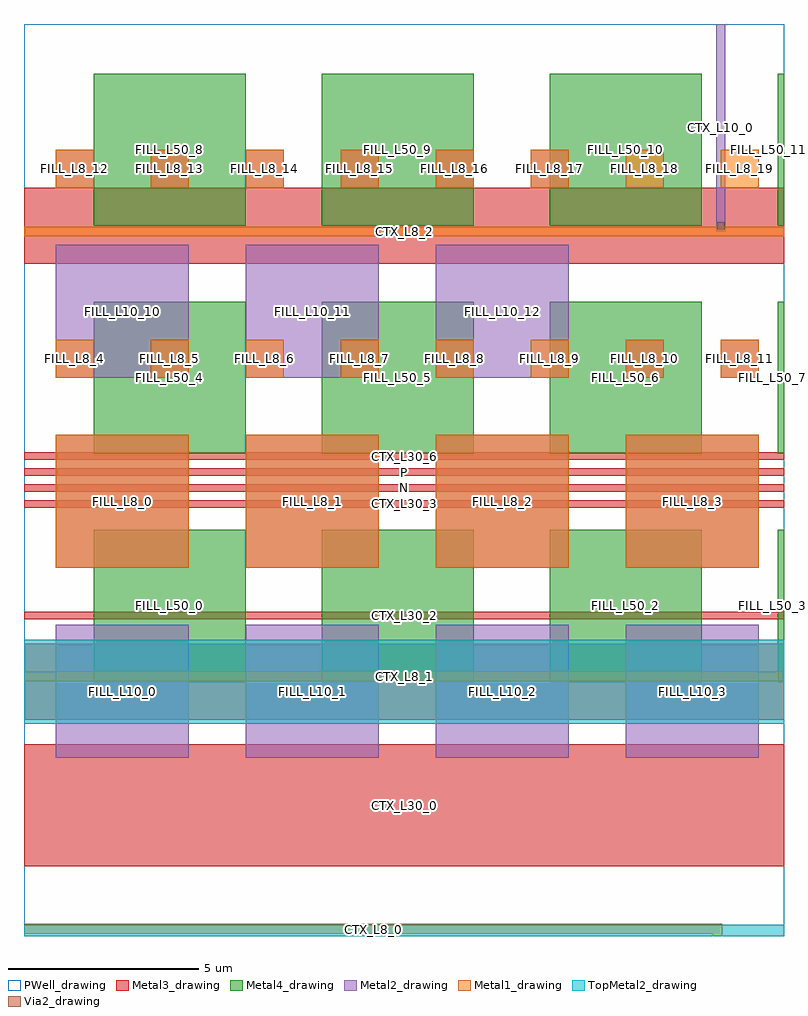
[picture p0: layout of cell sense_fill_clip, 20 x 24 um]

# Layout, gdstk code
import gdstk
lib = gdstk.Library(unit=1e-6, precision=1e-09)
def R(c, l, rs):  # rectangles x0, y0, x1, y1
    for r in rs: c.add(gdstk.rectangle(r[:2], r[2:], *l))
def A(c, l, x, y, w, h, nx, ny, dx, dy):  # array of equal rectangles
    R(c, l, [(x+i*dx, y+j*dy, x+i*dx+w, y+j*dy+h) for i in range(nx) for j in range(ny)])
def P(c, l, *ps):  # polygons
    for p in ps: c.add(gdstk.Polygon(p, *l))
Metal1_drawing = (8, 0)
Metal2_drawing = (10, 0)
Via2_drawing = (29, 0)
Metal3_drawing = (30, 0)
PWell_drawing = (46, 0)
Metal4_drawing = (50, 0)
TopMetal2_drawing = (134, 0)

sense_fill_clip = lib.new_cell('sense_fill_clip')
A(sense_fill_clip, Metal1_drawing, 845, 945, 3.5, 3.5, 4, 1, 5, 0)
A(sense_fill_clip, Metal1_drawing, 845, 950, 1, 1, 8, 2, 2.5, 5)
R(sense_fill_clip, Metal1_drawing, [(844.16,942.02,864.16,942.28), (844.16,953.72,864.16,953.98)])
P(sense_fill_clip, Metal1_drawing, [(862.28,935.31),(862.28,935.37),(844.16,935.37),(844.16,935.63),(862.54,935.63),(862.54,935.31)])
A(sense_fill_clip, Metal2_drawing, 845, 940, 3.5, 3.5, 4, 2, 5, 5)
A(sense_fill_clip, Metal2_drawing, 845, 950, 3.5, 3.5, 3, 1, 5, 0)
A(sense_fill_clip, Metal2_drawing, 845, 955, 1, 1, 6, 1, 2.5, 0)
R(sense_fill_clip, Metal2_drawing, [(860,950,861,951), (862.5,950,863.5,951), (862.38,953.85,862.62,959.31)])
R(sense_fill_clip, Via2_drawing, [(862.405,953.905,862.595,954.095)])
A(sense_fill_clip, Metal3_drawing, 844.16, 946.58, 20, 0.2, 1, 4, 0, 0.42)
R(sense_fill_clip, Metal3_drawing, [(844.16,937.15,864.16,940.35), (844.16,941,864.16,943), (844.16,943.64,864.16,943.84), (844.16,953,864.16,955)])
R(sense_fill_clip, PWell_drawing, [(844.16,935.31,864.16,959.31), (844.16,935.31,864.16,959.31)])
A(sense_fill_clip, Metal4_drawing, 846, 942, 4, 4, 3, 3, 6, 6)
A(sense_fill_clip, Metal4_drawing, 864, 942, 0.16, 4, 1, 3, 0, 6)
R(sense_fill_clip, TopMetal2_drawing, [(844.16,935.31,864.16,935.6), (844.16,940.9,864.16,943.1)])
sense_fill_clip.add(gdstk.Label('FILL_L8_18', (860.5,955.5), layer=8, texttype=25))
sense_fill_clip.add(gdstk.Label('FILL_L8_15', (853,955.5), layer=8, texttype=25))
sense_fill_clip.add(gdstk.Label('FILL_L8_17', (858,955.5), layer=8, texttype=25))
sense_fill_clip.add(gdstk.Label('FILL_L8_16', (855.5,955.5), layer=8, texttype=25))
sense_fill_clip.add(gdstk.Label('FILL_L8_11', (863,950.5), layer=8, texttype=25))
sense_fill_clip.add(gdstk.Label('FILL_L8_0', (846.75,946.75), layer=8, texttype=25))
sense_fill_clip.add(gdstk.Label('FILL_L8_14', (850.5,955.5), layer=8, texttype=25))
sense_fill_clip.add(gdstk.Label('FILL_L8_10', (860.5,950.5), layer=8, texttype=25))
sense_fill_clip.add(gdstk.Label('CTX_L8_0', (853.35,935.47), layer=8, texttype=25))
sense_fill_clip.add(gdstk.Label('CTX_L8_1', (854.16,942.15), layer=8, texttype=25))
sense_fill_clip.add(gdstk.Label('FILL_L8_13', (848,955.5), layer=8, texttype=25))
sense_fill_clip.add(gdstk.Label('FILL_L8_12', (845.5,955.5), layer=8, texttype=25))
sense_fill_clip.add(gdstk.Label('FILL_L8_1', (851.75,946.75), layer=8, texttype=25))
sense_fill_clip.add(gdstk.Label('FILL_L8_5', (848,950.5), layer=8, texttype=25))
sense_fill_clip.add(gdstk.Label('FILL_L8_3', (861.75,946.75), layer=8, texttype=25))
sense_fill_clip.add(gdstk.Label('FILL_L8_4', (845.5,950.5), layer=8, texttype=25))
sense_fill_clip.add(gdstk.Label('FILL_L8_19', (863,955.5), layer=8, texttype=25))
sense_fill_clip.add(gdstk.Label('FILL_L8_6', (850.5,950.5), layer=8, texttype=25))
sense_fill_clip.add(gdstk.Label('FILL_L8_2', (856.75,946.75), layer=8, texttype=25))
sense_fill_clip.add(gdstk.Label('FILL_L8_9', (858,950.5), layer=8, texttype=25))
sense_fill_clip.add(gdstk.Label('FILL_L8_7', (853,950.5), layer=8, texttype=25))
sense_fill_clip.add(gdstk.Label('CTX_L8_2', (854.16,953.85), layer=8, texttype=25))
sense_fill_clip.add(gdstk.Label('FILL_L8_8', (855.5,950.5), layer=8, texttype=25))
sense_fill_clip.add(gdstk.Label('FILL_L10_18', (858,955.5), layer=10, texttype=25))
sense_fill_clip.add(gdstk.Label('FILL_L10_17', (855.5,955.5), layer=10, texttype=25))
sense_fill_clip.add(gdstk.Label('FILL_L10_15', (850.5,955.5), layer=10, texttype=25))
sense_fill_clip.add(gdstk.Label('FILL_L10_14', (848,955.5), layer=10, texttype=25))
sense_fill_clip.add(gdstk.Label('FILL_L10_0', (846.75,941.75), layer=10, texttype=25))
sense_fill_clip.add(gdstk.Label('FILL_L10_4', (846.75,946.75), layer=10, texttype=25))
sense_fill_clip.add(gdstk.Label('FILL_L10_9', (863,950.5), layer=10, texttype=25))
sense_fill_clip.add(gdstk.Label('FILL_L10_2', (856.75,941.75), layer=10, texttype=25))
sense_fill_clip.add(gdstk.Label('FILL_L10_3', (861.75,941.75), layer=10, texttype=25))
sense_fill_clip.add(gdstk.Label('FILL_L10_5', (851.75,946.75), layer=10, texttype=25))
sense_fill_clip.add(gdstk.Label('FILL_L10_6', (856.75,946.75), layer=10, texttype=25))
sense_fill_clip.add(gdstk.Label('FILL_L10_7', (861.75,946.75), layer=10, texttype=25))
sense_fill_clip.add(gdstk.Label('CTX_L10_0', (862.5,956.58), layer=10, texttype=25))
sense_fill_clip.add(gdstk.Label('FILL_L10_16', (853,955.5), layer=10, texttype=25))
sense_fill_clip.add(gdstk.Label('FILL_L10_1', (851.75,941.75), layer=10, texttype=25))
sense_fill_clip.add(gdstk.Label('FILL_L10_10', (846.75,951.75), layer=10, texttype=25))
sense_fill_clip.add(gdstk.Label('FILL_L10_11', (851.75,951.75), layer=10, texttype=25))
sense_fill_clip.add(gdstk.Label('FILL_L10_8', (860.5,950.5), layer=10, texttype=25))
sense_fill_clip.add(gdstk.Label('FILL_L10_13', (845.5,955.5), layer=10, texttype=25))
sense_fill_clip.add(gdstk.Label('FILL_L10_12', (856.75,951.75), layer=10, texttype=25))
sense_fill_clip.add(gdstk.Label('CTX_L30_7', (854.16,954), layer=30, texttype=25))
sense_fill_clip.add(gdstk.Label('CTX_L30_6', (854.16,947.94), layer=30, texttype=25))
sense_fill_clip.add(gdstk.Label('P', (854.16,947.52), layer=30, texttype=25))
sense_fill_clip.add(gdstk.Label('N', (854.16,947.1), layer=30, texttype=25))
sense_fill_clip.add(gdstk.Label('CTX_L30_2', (854.16,943.74), layer=30, texttype=25))
sense_fill_clip.add(gdstk.Label('CTX_L30_3', (854.16,946.68), layer=30, texttype=25))
sense_fill_clip.add(gdstk.Label('CTX_L30_1', (854.16,942), layer=30, texttype=25))
sense_fill_clip.add(gdstk.Label('CTX_L30_0', (854.16,938.75), layer=30, texttype=25))
sense_fill_clip.add(gdstk.Label('FILL_L50_11', (864.08,956), layer=50, texttype=25))
sense_fill_clip.add(gdstk.Label('FILL_L50_10', (860,956), layer=50, texttype=25))
sense_fill_clip.add(gdstk.Label('FILL_L50_9', (854,956), layer=50, texttype=25))
sense_fill_clip.add(gdstk.Label('FILL_L50_8', (848,956), layer=50, texttype=25))
sense_fill_clip.add(gdstk.Label('FILL_L50_7', (864.08,950), layer=50, texttype=25))
sense_fill_clip.add(gdstk.Label('FILL_L50_5', (854,950), layer=50, texttype=25))
sense_fill_clip.add(gdstk.Label('FILL_L50_6', (860,950), layer=50, texttype=25))
sense_fill_clip.add(gdstk.Label('FILL_L50_4', (848,950), layer=50, texttype=25))
sense_fill_clip.add(gdstk.Label('FILL_L50_2', (860,944), layer=50, texttype=25))
sense_fill_clip.add(gdstk.Label('FILL_L50_3', (864.08,944), layer=50, texttype=25))
sense_fill_clip.add(gdstk.Label('FILL_L50_1', (854,944), layer=50, texttype=25))
sense_fill_clip.add(gdstk.Label('FILL_L50_0', (848,944), layer=50, texttype=25))
sense_fill_clip.add(gdstk.Label('FILL_L67_11', (864.08,956), layer=67, texttype=25))
sense_fill_clip.add(gdstk.Label('FILL_L67_8', (848,956), layer=67, texttype=25))
sense_fill_clip.add(gdstk.Label('FILL_L67_6', (860,950), layer=67, texttype=25))
sense_fill_clip.add(gdstk.Label('FILL_L67_9', (854,956), layer=67, texttype=25))
sense_fill_clip.add(gdstk.Label('FILL_L67_5', (854,950), layer=67, texttype=25))
sense_fill_clip.add(gdstk.Label('FILL_L67_10', (860,956), layer=67, texttype=25))
sense_fill_clip.add(gdstk.Label('FILL_L67_7', (864.08,950), layer=67, texttype=25))
sense_fill_clip.add(gdstk.Label('FILL_L67_4', (848,950), layer=67, texttype=25))
sense_fill_clip.add(gdstk.Label('FILL_L67_2', (860,944), layer=67, texttype=25))
sense_fill_clip.add(gdstk.Label('FILL_L67_3', (864.08,944), layer=67, texttype=25))
sense_fill_clip.add(gdstk.Label('FILL_L67_1', (854,944), layer=67, texttype=25))
sense_fill_clip.add(gdstk.Label('FILL_L67_0', (848,944), layer=67, texttype=25))
sense_fill_clip.add(gdstk.Label('CTX_L134_1', (854.16,942), layer=134, texttype=25))
sense_fill_clip.add(gdstk.Label('CTX_L134_0', (854.16,935.455), layer=134, texttype=25))

lib.write_gds('sense_fill_clip.gds')
